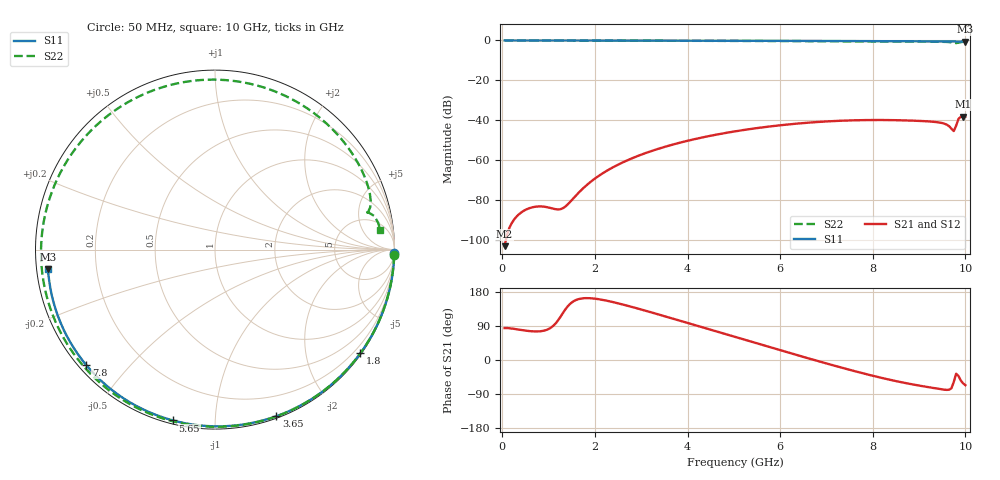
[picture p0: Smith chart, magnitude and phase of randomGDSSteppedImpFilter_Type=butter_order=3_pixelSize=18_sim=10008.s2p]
! freq	dB(S11)	phase(S11)	dB(S12)	phase(S12)
!  dB(S21)	phase(S21)	dB(S22)	phase(S22)
!S-par simulation data
#  GHz  S  DB  R 50
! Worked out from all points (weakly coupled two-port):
!   200 points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, 50 MHz to 10 GHz, reference 50 ohm
!   highest |S21| = -38.17 dB at 9.95 GHz (marker M1); lowest = -103.2 dB at 50 MHz (marker M2)
!   lowest |S11| = -0.6 dB at 10 GHz (marker M3), VSWR 30.78, Z = 1.63 - j2.87 ohm
!   |S11| at or under -10 dB: nowhere
!   |S22| runs from -1.3 to 0.0 dB; largest |S21 - S12| = 0
!   S11 on the Smith chart (normalised r, x): 50 MHz: open; 1.8 GHz: 0.03, -3.13; 3.65 GHz: 0.02, -1.43; 5.65 GHz: 0.02, -0.78; 7.8 GHz: 0.02, -0.38; 10 GHz: 0.03, -0.06
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0.05  -0.01 -1.0  -103.24 84.2  -103.24 84.2  -0.01 -1.7
0.75  -0.02 -15.0  -83.36 75.4  -83.36 75.4  -0.03 -26.4
1.5  -0.04 -29.7  -80.13 151.9  -80.13 151.9  -0.07 -52.2
1.75  -0.04 -34.5  -74.10 162.9  -74.10 162.9  -0.08 -60.6
1.8  -0.05 -35.5  -73.05 163.3  -73.05 163.3  -0.08 -62.3
2.45  -0.06 -47.8  -62.93 151.1  -62.93 151.1  -0.10 -83.6
3.4  -0.09 -65.3  -54.16 119.3  -54.16 119.3  -0.14 -113.5
3.65  -0.09 -69.8  -52.45 110.4  -52.45 110.4  -0.16 -121.3
4.4  -0.12 -82.9  -48.28 83.4  -48.28 83.4  -0.20 -144.4
5.05  -0.14 -93.9  -45.53 59.9  -45.53 59.9  -0.24 -164.7
5.65  -0.17 -103.8  -43.53 38.4  -43.53 38.4  -0.28 175.9
6.7  -0.24 -120.7  -41.10 1.2  -41.10 1.2  -0.37 139.5
7.3  -0.28 -130.1  -40.30 -19.3  -40.30 -19.3  -0.42 116.8
7.8  -0.32 -138.0  -39.97 -35.5  -39.97 -35.5  -0.46 96.8
8.35  -0.37 -146.7  -39.96 -51.7  -39.96 -51.7  -0.50 73.8
8.85  -0.43 -154.6  -40.24 -64.2  -40.24 -64.2  -0.55 52.3
9.45  -0.50 -164.3  -41.23 -76.6  -41.23 -76.6  -0.65 26.3
9.6  -0.52 -166.8  -42.29 -78.9  -42.29 -78.9  -0.75 19.7
9.75  -0.54 -169.2  -45.46 -57.6  -45.46 -57.6  -1.15 13.6
9.85  -0.55 -170.9  -39.38 -42.1  -39.38 -42.1  -1.13 13.8
9.95  -0.56 -172.6  -38.17 -61.6  -38.17 -61.6  -0.71 9.4
10  -0.56 -173.4  -38.23 -66.4  -38.23 -66.4  -0.65 6.9
